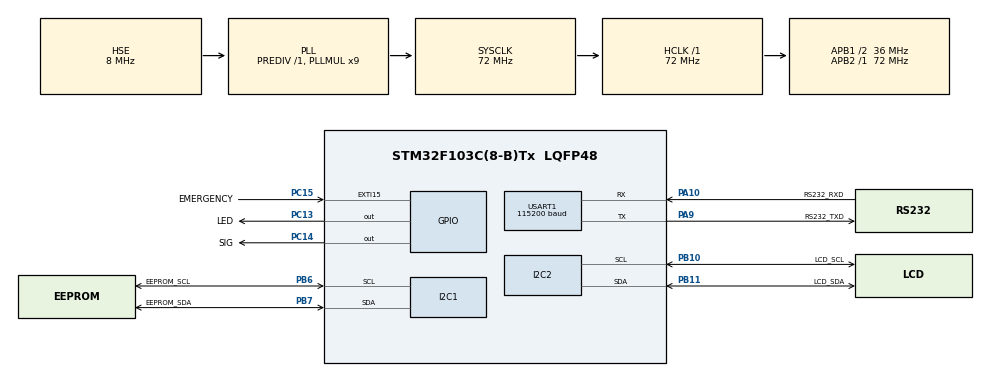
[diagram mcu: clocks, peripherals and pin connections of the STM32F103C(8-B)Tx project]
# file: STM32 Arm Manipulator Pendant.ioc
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I2C1.I2C_Mode=I2C_Fast
Mcu.Family=STM32F1
Mcu.Name=STM32F103C(8-B)Tx
Mcu.Package=LQFP48
NVIC.EXTI15_10_IRQn=true\:10\:0\:true\:false\:true\:true\:true\:true
NVIC.PriorityGroup=NVIC_PRIORITYGROUP_4
NVIC.TIM2_IRQn=true\:7\:0\:true\:false\:true\:true\:true\:true
NVIC.TIM3_IRQn=true\:6\:0\:true\:false\:true\:true\:true\:true
NVIC.USART1_IRQn=true\:5\:0\:true\:false\:true\:true\:true\:true
PA10.GPIO_Label=RS232_RXD
PA10.GPIO_PuPd=GPIO_PULLDOWN
PA10.Mode=Asynchronous
PA10.Signal=USART1_RX
PA13.Mode=Serial_Wire
PA13.Signal=SYS_JTMS-SWDIO
PA14.Mode=Serial_Wire
PA14.Signal=SYS_JTCK-SWCLK
PA9.GPIO_Label=RS232_TXD
PA9.Mode=Asynchronous
PA9.Signal=USART1_TX
PB10.GPIO_Label=LCD_SCL
PB10.Mode=I2C
PB10.Signal=I2C2_SCL
PB11.GPIO_Label=LCD_SDA
PB11.Mode=I2C
PB11.Signal=I2C2_SDA
PB6.GPIO_Label=EEPROM_SCL
PB6.Mode=I2C
PB6.Signal=I2C1_SCL
PB7.GPIO_Label=EEPROM_SDA
PB7.Mode=I2C
PB7.Signal=I2C1_SDA
PC13-TAMPER-RTC.GPIO_Label=LED
PC13-TAMPER-RTC.Signal=GPIO_Output
PC14-OSC32_IN.GPIO_Label=SIG
PC14-OSC32_IN.Signal=GPIO_Output
PC15-OSC32_OUT.GPIO_Label=EMERGENCY
PC15-OSC32_OUT.GPIO_ModeDefaultEXTI=GPIO_MODE_IT_RISING_FALLING
PC15-OSC32_OUT.GPIO_PuPd=GPIO_PULLUP
PC15-OSC32_OUT.Signal=GPXTI15
PD0-OSC_IN.Mode=HSE-External-Oscillator
PD0-OSC_IN.Signal=RCC_OSC_IN
PD1-OSC_OUT.Mode=HSE-External-Oscillator
PD1-OSC_OUT.Signal=RCC_OSC_OUT
ProjectManager.HeapSize=0x200
ProjectManager.StackSize=0x400
ProjectManager.TargetToolchain=MDK-ARM V5.32
RCC.AHBFreq_Value=72000000
RCC.APB1CLKDivider=RCC_HCLK_DIV2
RCC.APB1Freq_Value=36000000
RCC.APB1TimFreq_Value=72000000
RCC.APB2Freq_Value=72000000
RCC.APB2TimFreq_Value=72000000
RCC.EnbaleCSS=true
RCC.HCLKFreq_Value=72000000
RCC.PLLMUL=RCC_PLL_MUL9
RCC.PLLSourceVirtual=RCC_PLLSOURCE_HSE
RCC.SYSCLKFreq_VALUE=72000000
RCC.SYSCLKSource=RCC_SYSCLKSOURCE_PLLCLK
RCC.USBFreq_Value=72000000
TIM2.Period=49999
TIM2.Prescaler=287
TIM3.Period=49999
TIM3.Prescaler=143
USART1.BaudRate=115200
USART1.VirtualMode=VM_ASYNC
VP_TIM2_VS_ClockSourceINT.Mode=Internal
VP_TIM3_VS_ClockSourceINT.Mode=Internal
board=custom

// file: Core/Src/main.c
/* USER CODE BEGIN Header */
/**
  ******************************************************************************
  * @file           : main.c
  * @brief          : Main program body
  ******************************************************************************
  * @attention
  *
  * Copyright (c) 2024 STMicroelectronics.
  * All rights reserved.
  *
  * This software is licensed under terms that can be found in the LICENSE file
  * in the root directory of this software component.
  * If no LICENSE file comes with this software, it is provided AS-IS.
  *
  ******************************************************************************
  */
/* USER CODE END Header */
#include "main.h"

/* USER CODE BEGIN Includes */
#include "LCD_I2C.h"
#include "Keypad_Driver.h"
#include "RS232_Driver.h"
#include "EEPROM_lib.h"
/* USER CODE END Includes */

/* USER CODE BEGIN PTD */

//--- LCD MENU TYPEDEF ---//
////////////////////////////
typedef enum{
	EMERGENCY_MENU,
	BOOTING_MENU,
	AUTO_HOME_MENU,
	HOMING_MENU,
	HOME_MENU,
	PREP_MENU,
	MAPPING_MENU,
	PREVIEW_MENU,
	WELDING_MENU,
	PAUSE_MENU,
	STOP_MENU,
	HOLD_MENU,
	MAPPING_ERR_MENU,
	PREVIEW_ERR_MENU,
	MAPPING_SAVE_MENU,
	POINT_SET_MENU,
	POINT_UNSET_MENU,
	EEPROM_ERR_MENU,
	RS232_ERR_MENU,
	KEYPAD_ERR_MENU,
	ANGLE_LIMIT_MENU,
}LCD_Menu_t;

LCD_Menu_t select_menu;
////////////////////////////

//--- KEYPAD TYPEDEF ---//
//////////////////////////
Keypad_t keypad;
//////////////////////////

//--- EEPROM TYPEDEF ---//
//////////////////////////
EEPROM_t eeprom1;

typedef enum{
	UPDATE_ALL = 0x01,
	SELECTED_ONLY,
}Mem_Update_t;
//////////////////////////

//--- RS232 TYPEDEF ---//
/////////////////////////
Data_Get_t command;
/////////////////////////

/* USER CODE END PTD */

/* USER CODE BEGIN PD */

/*WELDING POINT SET*/
//-------------------
#define MAX_POINT 300
//-------------------

/*EEPROM ADDRESS SET*/
//-----------------------------------
#define EEPROM1_ADDRESS					0xA0
#define DATA_BYTE_SHIFT					0x02
#define DATA_PAGE_SHIFT					0x01
//-----------------------------------

/*FUNCTION CONFIG SET*/
//---------------------
#define USE_LCD
#define USE_EEPROM
#define USE_RS232
#define USE_KEYPAD
//---------------------

/*TESTING MODE SET*/
//----------------------
#define MAIN_PROGRAM
//#define KEYPAD_TEST
//#define RS232_TEST
//#define EEPROM_TEST
//#define EMERGENCY_TEST
//----------------------

/* USER CODE END PD */

I2C_HandleTypeDef hi2c1;
I2C_HandleTypeDef hi2c2;

TIM_HandleTypeDef htim2;
TIM_HandleTypeDef htim3;

UART_HandleTypeDef huart1;

/* USER CODE BEGIN PV */

/*PENDANT GLOBAL VARIABLE*/
//////////////////////////////
bool
saved_dist    		= true,
saved_speed   		= true,
saved_prev				= true,
state_booting 		= false,
state_home 				= false,
state_running 		= false,
stop 							= false,
prep_done 				= false,
mapped_start_array[MAX_POINT],
mapped_end_array[MAX_POINT];

uint8_t
lcd_error_value,
stored_welding_data[3],
running_speed,
max_speed = 150,
mapped_array[MAX_POINT],
mapped_points[MAX_POINT],
mapped_pattern[MAX_POINT],
mapped_speed[MAX_POINT];

uint16_t
mapping_point,
total_mapped_points,
preview_point, welding_point,
preview_pattern, welding_pattern,
preview_speed, welding_speed,
max_welding_point = MAX_POINT;

float
angle_value[6], move_angle_value[6],
pos_value[3], move_pos_value[3],
A1, A2, A3, A4, A5, A6,
moveX, moveY, moveZ,
distance_val,
max_axis_distance = 100,
max_joint_distance = 90;

char
string_distance[20],
string_preview[20],
string_speed[20];

char
prev_keys,
keys;
//////////////////////////////

/*MENU MODE VARIABLE*/
///////////////////////////////////
bool
home_state = true,
mapping_state = false,
preview_state = false,
welding_state = false,
emergency_state = false,
prev_emergency_state = false;

float
increase_decrease_value = 2.5;

char
home_menu[]					= "(HOME)",
preparation[]     	= "(PREP)",
mapping_menu[]    	= "(MAP)",
preview_menu[] 			= "(PREV)",
welding_menu[]			= "(WELD)",
mem_menu[]        	= "(MEM)",

cartesian_ctrl[]		= "(CAR)",
joint_ctrl[] 				= "(JNT)",

cont_change[] 			= "(CON)",
dist_change[] 			= "(DIS)",
step_change[] 			= "(STP)",

mapping_mode[]			= "(MAPPING)",
welding_mode[] 			= "(WELDING)",
preview_mode[] 			= "(PREVIEW)",

low_speed[] 				= "LOW",
med_speed[] 				= "MED",
high_speed[] 				= "HIGH",

not_set_mode[]			= "NOTSET",
dot_mode[]					= "DOT",
linear_mode[]				= "LINEAR",
circular_mode[] 		= "CIRCULAR",
wave_mode[]					= "WAVE",

string_max_dist1[] 	= "100      ",
string_max_dist2[] 	= "90       ",
string_max_point[] 	= "250      ",
string_max_speed[]	= "150      ";

int16_t
ctrl_mode_counter,			// Change Control Mode - World or Joint
move_mode_counter,			// Change Move Mode - Continuous, Distance, or Step
move_var_counter,				// Change Move Variable - World Variable or Joint Variable
run_mode_counter,				// Change Running Mode - Welding or Preview
speed_mode_counter,			// Change Speed Mode - LOW, MED, HIGH
mapping_menu_counter,
mapped_point_counter,
start_point_counter,
end_point_counter,
pattern_sel_counter,
mapped_array_counter,
welding_menu_counter,
add_col;

char num_keys[10] = {
'1', '2', '3', '4', '5',
'6', '7', '8', '9', '0',
};
///////////////////////////////////

uint8_t
erased_page_count,
eeprom_page_data[128];
/* USER CODE END PV */

void SystemClock_Config(void);
static void MX_GPIO_Init(void);
static void MX_I2C1_Init(void);
static void MX_I2C2_Init(void);
static void MX_USART1_UART_Init(void);
static void MX_TIM2_Init(void);
static void MX_TIM3_Init(void);
/* USER CODE BEGIN PFP */

// LED BLINK FUNCTION PROTOTYPE
void blink_led(uint8_t delay_time, uint8_t count);

// MENU HANDLER FUNCTION PROTOTYPE
void ui_handler(void);
void show_menu(LCD_Menu_t menu);
void reset_counter(void);
bool check_numkeys_pressed(void);

// EEPROM HANDLER FUNCTION PROTOTYPE
void Save_WeldingData(uint8_t welding_point, uint8_t welding_pattern, uint8_t welding_speed);		// SAVING WELDING DATA
void Delete_WeldingData(uint8_t welding_point);																									// DELETE WELDING DATA
void Read_WeldingData(uint16_t welding_point, uint8_t* stored_data);														// READ WELDING DATA
void Update_Data(Mem_Update_t update_type);																											// UPDATE WELDING DATA
void Format_mem(void);																																					// MEMORY FORMAT

/* USER CODE END PFP */

/* USER CODE BEGIN 0 */

/*LCD MENU TIMER UPDATE*/
//-----------------------------------------------------------
void HAL_TIM_PeriodElapsedCallback(TIM_HandleTypeDef *htim){
	if(htim->Instance == TIM2){
		show_menu((LCD_Menu_t)select_menu);
	}
}
//-----------------------------------------------------------

/*EMERGENCY STOP BUTTON INTERRUPT*/
//----------------------------------------------------------------------------------------------
void HAL_GPIO_EXTI_Callback(uint16_t GPIO_Pin){
	if(GPIO_Pin == EMERGENCY_Pin){
		emergency_state = (HAL_GPIO_ReadPin(EMERGENCY_GPIO_Port, EMERGENCY_Pin) == GPIO_PIN_RESET);
		if(emergency_state == true) HAL_GPIO_WritePin(SIG_GPIO_Port, SIG_Pin, GPIO_PIN_RESET);
		else HAL_GPIO_WritePin(SIG_GPIO_Port, SIG_Pin, GPIO_PIN_SET);
	}
}
//----------------------------------------------------------------------------------------------

/*KEYPAD CONFIGURATION*/
//-------------------------------
unsigned long
prev_tick,
debounce = 200;

const uint8_t
num_rows = 5,
num_cols = 4;

char key[num_rows][num_cols] = {
	{'Q', 'W', 'R', 'T'},
	{'1', '2', '3', 'U'},
	{'4', '5', '6', 'D'},
	{'7', '8', '9', '.'},
	{'<', '0', '>', '#'}
};
//-------------------------------

/*RS232 CONFIGURATION*/
//------------------------------------------------------
uint32_t RS232_state, RS232_err_status;
void HAL_UART_RxCpltCallback(UART_HandleTypeDef *huart){
	if(huart->Instance == USART1){
		Get_command(&command);
		Start_get_command(&command);
	}
}

void HAL_UART_TxCpltCallback(UART_HandleTypeDef *huart){
	command.msg_sent = true;
}
//------------------------------------------------------

/* USER CODE END 0 */

int main(void)
{

  /* MCU Configuration--------------------------------------------------------*/

  /* Reset of all peripherals, Initializes the Flash interface and the Systick. */
  HAL_Init();

  /* Configure the system clock */
  SystemClock_Config();

  /* Initialize all configured peripherals */
  MX_GPIO_Init();
  MX_I2C1_Init();
  MX_I2C2_Init();
  MX_USART1_UART_Init();
  MX_TIM2_Init();
  MX_TIM3_Init();
  /* USER CODE BEGIN 2 */
	HAL_Delay(1500);

	/*LCD CONFIGURATION*/
	//---------------------------------
	#ifdef USE_LCD
	lcd_error_value = lcd_init(&hi2c2);
	if(lcd_error_value != 0){
		while(1){
			blink_led(50, 1);
		}
	};
	select_menu = BOOTING_MENU;
	lcd_clear();
	HAL_TIM_Base_Start_IT(&htim2);
	blink_led(100, 2);
	#endif
	//---------------------------------

	/*CHECK EMERGENCY*/
	//-----------------------------------------------------------------------
	if(HAL_GPIO_ReadPin(EMERGENCY_GPIO_Port, EMERGENCY_Pin) == GPIO_PIN_SET){
		HAL_GPIO_WritePin(SIG_GPIO_Port, SIG_Pin, GPIO_PIN_SET);
	}
	else HAL_GPIO_WritePin(SIG_GPIO_Port, SIG_Pin, GPIO_PIN_RESET);
	//-----------------------------------------------------------------------

	/*RS232 COM CONFIGURATION*/
	//----------------------------------------
	#ifdef USE_RS232
	RS232_Init(&huart1);
	Start_get_command(&command);
	for(int i=0; i<50; i++){
		Send_feedback(&command, PENDANT_ONLINE);
		HAL_Delay(10);
	}
	blink_led(100, 2);
	#endif
	//----------------------------------------

	/*EEPROM CONFIGURATION*/
	//---------------------------------------------------------
	#ifdef USE_EEPROM
	EEPROM_Init(&hi2c1, &eeprom1, MEM_SIZE_256Kb, 0xA0);
	EEPROM_ByteRead(&eeprom1, 511, 0, eeprom1.dummy_byte, 1);
	if(eeprom1.status != EEPROM_OK){
		lcd_clear();
		while(1){
			select_menu = EEPROM_ERR_MENU;
			blink_led(50, 1);
		}
	}
	Update_Data(UPDATE_ALL);
	blink_led(100, 2);
	#endif
	//---------------------------------------------------------

	/*KEYPAD CONFIGURATION*/
	//---------------------------------------------------------
	#ifdef USE_KEYPAD
	keypad.col_port[0] = GPIOB, keypad.col_pin[0] = GPIO_PIN_1;
	keypad.col_port[1] = GPIOB, keypad.col_pin[1] = GPIO_PIN_0;
	keypad.col_port[2] = GPIOA, keypad.col_pin[2] = GPIO_PIN_7;
	keypad.col_port[3] = GPIOA, keypad.col_pin[3] = GPIO_PIN_6;

	keypad.row_port[0] = GPIOA, keypad.row_pin[0] = GPIO_PIN_1;
	keypad.row_port[1] = GPIOA, keypad.row_pin[1] = GPIO_PIN_2;
	keypad.row_port[2] = GPIOA, keypad.row_pin[2] = GPIO_PIN_3;
	keypad.row_port[3] = GPIOA, keypad.row_pin[3] = GPIO_PIN_4;
	keypad.row_port[4] = GPIOA, keypad.row_pin[4] = GPIO_PIN_5;

	Keypad_Init(&keypad, makeKeymap(key), num_rows, num_cols);
	blink_led(100, 2);

	HAL_TIM_Base_Start_IT(&htim3);
	#endif
	//---------------------------------------------------------

	/*ALL PREPARATION COMPLETED - BOOTING DONE*/
	//------------------------------------------
	lcd_clear();
	select_menu = HOME_MENU;
	HAL_Delay(100);
	prep_done = true;
	//------------------------------------------

	#ifdef EEPROM_TEST
	Save_WeldingData(0, LINEAR, 50);
	HAL_Delay(100);
	Read_WeldingData(0, stored_welding_data);
	#endif

  /* USER CODE END 2 */

  /* Infinite loop */
  /* USER CODE BEGIN WHILE */
  while (1)
  {
		#ifdef MAIN_PROGRAM
		ui_handler();
		#endif

		#ifdef KEYPAD_TEST
		keys = Keypad_Read(&keypad);
		if(keys != prev_keys && keys != 0x00) lcd_clear();

		prev_keys = keys;
		#endif

		#ifdef RS232_TEST
		Start_get_command(&command);
		#endif
    /* USER CODE END WHILE */

  }
}

void SystemClock_Config(void)
{
  RCC_OscInitTypeDef RCC_OscInitStruct = {0};
  RCC_ClkInitTypeDef RCC_ClkInitStruct = {0};

  /** Initializes the RCC Oscillators according to the specified parameters
  * in the RCC_OscInitTypeDef structure.
  */
  RCC_OscInitStruct.OscillatorType = RCC_OSCILLATORTYPE_HSE;
  RCC_OscInitStruct.HSEState = RCC_HSE_ON;
  RCC_OscInitStruct.HSEPredivValue = RCC_HSE_PREDIV_DIV1;
  RCC_OscInitStruct.HSIState = RCC_HSI_ON;
  RCC_OscInitStruct.PLL.PLLState = RCC_PLL_ON;
  RCC_OscInitStruct.PLL.PLLSource = RCC_PLLSOURCE_HSE;
  RCC_OscInitStruct.PLL.PLLMUL = RCC_PLL_MUL9;
  if (HAL_RCC_OscConfig(&RCC_OscInitStruct) != HAL_OK)
  {
    Error_Handler();
  }

  /** Initializes the CPU, AHB and APB buses clocks
  */
  RCC_ClkInitStruct.ClockType = RCC_CLOCKTYPE_HCLK|RCC_CLOCKTYPE_SYSCLK
                              |RCC_CLOCKTYPE_PCLK1|RCC_CLOCKTYPE_PCLK2;
  RCC_ClkInitStruct.SYSCLKSource = RCC_SYSCLKSOURCE_PLLCLK;
  RCC_ClkInitStruct.AHBCLKDivider = RCC_SYSCLK_DIV1;
  RCC_ClkInitStruct.APB1CLKDivider = RCC_HCLK_DIV2;
  RCC_ClkInitStruct.APB2CLKDivider = RCC_HCLK_DIV1;

  if (HAL_RCC_ClockConfig(&RCC_ClkInitStruct, FLASH_LATENCY_2) != HAL_OK)
  {
    Error_Handler();
  }

  /** Enables the Clock Security System
  */
  HAL_RCC_EnableCSS();
}

static void MX_I2C1_Init(void)
{

  hi2c1.Instance = I2C1;
  hi2c1.Init.ClockSpeed = 400000;
  hi2c1.Init.DutyCycle = I2C_DUTYCYCLE_2;
  hi2c1.Init.OwnAddress1 = 0;
  hi2c1.Init.AddressingMode = I2C_ADDRESSINGMODE_7BIT;
  hi2c1.Init.DualAddressMode = I2C_DUALADDRESS_DISABLE;
  hi2c1.Init.OwnAddress2 = 0;
  hi2c1.Init.GeneralCallMode = I2C_GENERALCALL_DISABLE;
  hi2c1.Init.NoStretchMode = I2C_NOSTRETCH_DISABLE;
  if (HAL_I2C_Init(&hi2c1) != HAL_OK)
  {
    Error_Handler();
  }

}

static void MX_I2C2_Init(void)
{

  hi2c2.Instance = I2C2;
  hi2c2.Init.ClockSpeed = 100000;
  hi2c2.Init.DutyCycle = I2C_DUTYCYCLE_2;
  hi2c2.Init.OwnAddress1 = 0;
  hi2c2.Init.AddressingMode = I2C_ADDRESSINGMODE_7BIT;
  hi2c2.Init.DualAddressMode = I2C_DUALADDRESS_DISABLE;
  hi2c2.Init.OwnAddress2 = 0;
  hi2c2.Init.GeneralCallMode = I2C_GENERALCALL_DISABLE;
  hi2c2.Init.NoStretchMode = I2C_NOSTRETCH_DISABLE;
  if (HAL_I2C_Init(&hi2c2) != HAL_OK)
  {
    Error_Handler();
  }

}

static void MX_TIM2_Init(void)
{

  TIM_ClockConfigTypeDef sClockSourceConfig = {0};
  TIM_MasterConfigTypeDef sMasterConfig = {0};

  htim2.Instance = TIM2;
  htim2.Init.Prescaler = 287;
  htim2.Init.CounterMode = TIM_COUNTERMODE_UP;
  htim2.Init.Period = 49999;
  htim2.Init.ClockDivision = TIM_CLOCKDIVISION_DIV1;
  htim2.Init.AutoReloadPreload = TIM_AUTORELOAD_PRELOAD_DISABLE;
  if (HAL_TIM_Base_Init(&htim2) != HAL_OK)
  {
    Error_Handler();
  }
  sClockSourceConfig.ClockSource = TIM_CLOCKSOURCE_INTERNAL;
  if (HAL_TIM_ConfigClockSource(&htim2, &sClockSourceConfig) != HAL_OK)
  {
    Error_Handler();
  }
  sMasterConfig.MasterOutputTrigger = TIM_TRGO_RESET;
  sMasterConfig.MasterSlaveMode = TIM_MASTERSLAVEMODE_DISABLE;
  if (HAL_TIMEx_MasterConfigSynchronization(&htim2, &sMasterConfig) != HAL_OK)
  {
    Error_Handler();
  }

}

static void MX_TIM3_Init(void)
{

  TIM_ClockConfigTypeDef sClockSourceConfig = {0};
  TIM_MasterConfigTypeDef sMasterConfig = {0};

  htim3.Instance = TIM3;
  htim3.Init.Prescaler = 143;
  htim3.Init.CounterMode = TIM_COUNTERMODE_UP;
  htim3.Init.Period = 49999;
  htim3.Init.ClockDivision = TIM_CLOCKDIVISION_DIV1;
  htim3.Init.AutoReloadPreload = TIM_AUTORELOAD_PRELOAD_DISABLE;
  if (HAL_TIM_Base_Init(&htim3) != HAL_OK)
  {
    Error_Handler();
  }
  sClockSourceConfig.ClockSource = TIM_CLOCKSOURCE_INTERNAL;
  if (HAL_TIM_ConfigClockSource(&htim3, &sClockSourceConfig) != HAL_OK)
  {
    Error_Handler();
  }
  sMasterConfig.MasterOutputTrigger = TIM_TRGO_RESET;
  sMasterConfig.MasterSlaveMode = TIM_MASTERSLAVEMODE_DISABLE;
  if (HAL_TIMEx_MasterConfigSynchronization(&htim3, &sMasterConfig) != HAL_OK)
  {
    Error_Handler();
  }

}

static void MX_USART1_UART_Init(void)
{

  huart1.Instance = USART1;
  huart1.Init.BaudRate = 115200;
  huart1.Init.WordLength = UART_WORDLENGTH_8B;
  huart1.Init.StopBits = UART_STOPBITS_1;
  huart1.Init.Parity = UART_PARITY_NONE;
  huart1.Init.Mode = UART_MODE_TX_RX;
  huart1.Init.HwFlowCtl = UART_HWCONTROL_NONE;
  huart1.Init.OverSampling = UART_OVERSAMPLING_16;
  if (HAL_UART_Init(&huart1) != HAL_OK)
  {
    Error_Handler();
  }

}

static void MX_GPIO_Init(void)
{
  GPIO_InitTypeDef GPIO_InitStruct = {0};

  /* GPIO Ports Clock Enable */
  __HAL_RCC_GPIOC_CLK_ENABLE();
  __HAL_RCC_GPIOD_CLK_ENABLE();
  __HAL_RCC_GPIOB_CLK_ENABLE();
  __HAL_RCC_GPIOA_CLK_ENABLE();

  /*Configure GPIO pin Output Level */
  HAL_GPIO_WritePin(GPIOC, LED_Pin|SIG_Pin, GPIO_PIN_RESET);

  /*Configure GPIO pins : LED_Pin SIG_Pin */
  GPIO_InitStruct.Pin = LED_Pin|SIG_Pin;
  GPIO_InitStruct.Mode = GPIO_MODE_OUTPUT_PP;
  GPIO_InitStruct.Pull = GPIO_NOPULL;
  GPIO_InitStruct.Speed = GPIO_SPEED_FREQ_LOW;
  HAL_GPIO_Init(GPIOC, &GPIO_InitStruct);

  /*Configure GPIO pin : EMERGENCY_Pin */
  GPIO_InitStruct.Pin = EMERGENCY_Pin;
  GPIO_InitStruct.Mode = GPIO_MODE_IT_RISING_FALLING;
  GPIO_InitStruct.Pull = GPIO_PULLUP;
  HAL_GPIO_Init(EMERGENCY_GPIO_Port, &GPIO_InitStruct);

  /* EXTI interrupt init*/
  HAL_NVIC_SetPriority(EXTI15_10_IRQn, 10, 0);
  HAL_NVIC_EnableIRQ(EXTI15_10_IRQn);

}

/* USER CODE BEGIN 4 */

/*--- LED BLINK HANDLER ---*/
//---------------------------------------------------------------------------------------------------------------------------------------------------------------------------------
void blink_led(uint8_t delay_time, uint8_t count){
	for(int i=0; i<count; i++){
		HAL_GPIO_WritePin(LED_GPIO_Port, LED_Pin, GPIO_PIN_SET);
		HAL_Delay(delay_time);
		HAL_GPIO_WritePin(LED_GPIO_Port, LED_Pin, GPIO_PIN_RESET);
		HAL_Delay(delay_time);
	}
}
//---------------------------------------------------------------------------------------------------------------------------------------------------------------------------------

/*--- USER INTERFACE HANDLER ---*/
//---------------------------------------------------------------------------------------------------------------------------------------------------------------------------------
void ui_handler(void){
	Start_get_command(&command);

	// Get Request
	if(command.type == SEND_REQ){
		for(int i=0; i<6; i++){
			if(i<3) pos_value[i] = command.Cartesian_pos_req[i];
			angle_value[i] = command.Joint_angle_req[i];
		}
	}

	// Read Keypad
	keys = Keypad_Read(&keypad);
	if(keys != prev_keys && keys != 0x00){
		lcd_clear();
	}

	/* EMERGENCY MENU HANDLER *////////////////////////////////////////////////
	if(select_menu == EMERGENCY_MENU){
		uint8_t btn_state = HAL_GPIO_ReadPin(EMERGENCY_GPIO_Port, EMERGENCY_Pin);
		HAL_GPIO_WritePin(SIG_GPIO_Port, SIG_Pin, GPIO_PIN_SET);

		if(emergency_state != prev_emergency_state){
			lcd_clear();
			prev_emergency_state = emergency_state;
		}

		if(btn_state == GPIO_PIN_SET){
			lcd_clear();
			HAL_GPIO_WritePin(SIG_GPIO_Port, SIG_Pin, GPIO_PIN_RESET);
			emergency_state = false;
			prev_emergency_state = false;
			select_menu = HOME_MENU;
		}
	}
	///////////////////////////////////////////////////////////////////////////

	/* AUTO HOME MENU HANDLER */////////////////////////////////////////////
	else if(select_menu == AUTO_HOME_MENU){
		keys = Keypad_Read(&keypad);
		if(keys == '#' && prev_keys != keys){
			HAL_Delay(100);
			lcd_clear();
			select_menu = HOMING_MENU;
		}
		else if(keys == '.' && prev_keys != keys){
			lcd_clear();
			select_menu = HOME_MENU;
		}
	}
	////////////////////////////////////////////////////////////////////////

	/* HOMING MENU HANDLER */////////////////////////////////////////
	else if(select_menu == HOMING_MENU){
		while(1){
			Send_auto_home(&command);
			if(command.feedback == AUTO_HOME_DONE){
				lcd_clear();
				select_menu = HOME_MENU;
				break;
			}
		}
	}
	////////////////////////////////////////////////////////////////

	/* HOME MENU HANDLER */////////////////////////////////////////////////////////////////
	else if(select_menu == HOME_MENU){
		home_state = true;

		// AUTO HOME ************************
		if(keys == 'Q' && prev_keys != keys){
			select_menu = AUTO_HOME_MENU;
		}
		// **********************************

		// CHANGE MOVE CONTROL ***************************
		else if(keys == 'W' && prev_keys != keys){
			move_var_counter = 0;
			ctrl_mode_counter++;
			if(ctrl_mode_counter > 1) ctrl_mode_counter = 0;
			strcpy(string_distance, "0");
			distance_val = 0;
		}
		// ***********************************************

		// CHANGE CURSOR **************************************************************
		else if(keys == 'R' && prev_keys != keys){
			move_var_counter++;
			if(ctrl_mode_counter == 0 && move_var_counter > 2) move_var_counter = 0;
			else if(ctrl_mode_counter == 1 && move_var_counter > 5) move_var_counter = 0;
		}
		// ****************************************************************************

		// SELECT MOVE VALUE ***********************************
		else if(keys == 'T' && prev_keys != keys){
			move_mode_counter++;
			if(move_mode_counter > 2) move_mode_counter = 0;
			strcpy(string_distance, "0");
			distance_val = 0;
		}
		// *****************************************************

		// MOVE VALUE BY DISTANCE *************************************************************
		else if((move_mode_counter == 1 && check_numkeys_pressed() == true) || keys == '<'){
			add_col = 0;
			distance_val = 0;

			while(1){
				saved_dist = false;
				if(keys != prev_keys && keys != 0x00) lcd_clear();

				// INSERT VALUE
				if(check_numkeys_pressed() == true && prev_keys != keys){
					string_distance[add_col] = keys;
					add_col++;
				}

				// DELETE VALUE
				if(keys == '<' && prev_keys != keys){
					if(add_col > 0) add_col-=1;

					if(add_col == 0) string_distance[add_col] = '0';
					else string_distance[add_col] = ' ';
				}

				// SAVE VALUE
				if(keys == '>' && prev_keys != keys){
					sscanf(string_distance, "%f", &distance_val);
					if(ctrl_mode_counter == 0){
						if(distance_val >= max_axis_distance){
							memcpy(string_distance, string_max_dist1, sizeof(string_max_dist1));
							distance_val = max_axis_distance;
						}
					}
					else{
						if(distance_val >= max_joint_distance){
							memcpy(string_distance, string_max_dist2, sizeof(string_max_dist2));
							distance_val = max_joint_distance;
						}
					}
					saved_dist = true;
					break;
				}
				prev_keys = keys;
			}
		}
		// ************************************************************************************

		// MOVE VALUE BY STEP *******************************************
		else if(move_mode_counter == 2) increase_decrease_value = 0.1;
		// **************************************************************

		// MOVE VALUE CONTINUOUS **********
		else increase_decrease_value = 0.0;
		// ********************************

		// INCLREASE VALUE *****************************************************************************************************************
		if(keys == 'U' && HAL_GetTick() - prev_tick > debounce){
			// Cartesian Increase Value Control
			if(ctrl_mode_counter == 0){
				for(int i=0; i<3; i++){
					if(move_var_counter == i){
						if(move_mode_counter != 1) move_pos_value[i] = increase_decrease_value;
						else move_pos_value[i] = distance_val;
						Send_move(&command, CARTESIAN_CTRL, (Move_Mode_t)(move_mode_counter+1), (Move_Var_t)(i+1), UNSIGNED_VAR, move_pos_value[i]);
					}
				}
			}

			// Joint Increase Value Control
			else{
				for(int i=0; i<6; i++){
					if(move_var_counter == i){
						if(move_mode_counter != 1) move_angle_value[i] = increase_decrease_value;
						else move_angle_value[i] = distance_val;
						Send_move(&command, JOINT_CTRL, (Move_Mode_t)(move_mode_counter+1), (Move_Var_t)(i+4), UNSIGNED_VAR, move_angle_value[i]);
					}
				}
			}
			prev_tick = HAL_GetTick();
		}
		// ********************************************************************************************************************************

		// DECREASE VALUE *****************************************************************************************************************
		else if(keys == 'D' && HAL_GetTick() - prev_tick > debounce){
			if(ctrl_mode_counter == 0){
				for(int i=0; i<3; i++){
					if(move_var_counter == i){
						if(move_mode_counter != 1) move_pos_value[i] = -1*(increase_decrease_value);
						else move_pos_value[i] = -1*(distance_val);
						Send_move(&command, CARTESIAN_CTRL, (Move_Mode_t)(move_mode_counter+1), (Move_Var_t)(i+1), SIGNED_VAR, move_pos_value[i]);
					}
				}
			}
			else{
				for(int i=0; i<6; i++){
					if(move_var_counter == i){
						if(move_mode_counter != 1) move_angle_value[i] = -1*(increase_decrease_value);
						else move_angle_value[i] = -1*(distance_val);
						Send_move(&command, JOINT_CTRL, (Move_Mode_t)(move_mode_counter+1), (Move_Var_t)(i+4), SIGNED_VAR, move_angle_value[i]);
					}
				}
			}
			prev_tick = HAL_GetTick();
		}
		// *********************************************************************************************************************************

		// MOVE TO PREPARATION MENU *********
		if(keys == '#' && prev_keys != keys){
			home_state = false;
			run_mode_counter = 0;
			mapped_point_counter = 0;
			select_menu = PREP_MENU;
			strcpy(string_preview, "-");
		}
		// **********************************
	}
	///////////////////////////////////////////////////////////////////////////////////////

	/* PREPARATION MENU HANDLER *////////////////////////////////////////////////////////////////
	else if(select_menu == PREP_MENU){
		mapping_state = false;
		preview_state = false;
		welding_state = false;

		// BACK TO HOME MENU *****************
		if(keys == '.' && prev_keys != keys){
			select_menu = HOME_MENU;
			reset_counter();
			strcpy(string_distance, "0");
			distance_val = 0;
		}
		// ***********************************

		// CHANGE RUNNING MODE *************************
		else if(keys == 'Q' && prev_keys != keys){
			run_mode_counter++;
			if(run_mode_counter > 2) run_mode_counter = 0;
			strcpy(string_preview, "-");
		}
		// *********************************************

		// MAPPING PREPARATION MENU ***************************************************************
		if(run_mode_counter == 0){
			// CHECK NEXT MAPPED POINT
			if(keys == 'U' && prev_keys != keys){
				mapped_point_counter++;
				if(mapped_point_counter >= max_welding_point) mapped_point_counter = max_welding_point;
			}

			// CHECK PREVIOUS MAPPED POINT
			else if(keys == 'D' && prev_keys != keys){
				mapped_point_counter--;
				if(mapped_point_counter <= 0) mapped_point_counter = 0;
			}

			// MAPPING RUN
			else if(keys == '#' && prev_keys != keys){
				mapping_state = true;
				select_menu = MAPPING_MENU;
				mapping_menu_counter = 0;
			}
		}
		// ****************************************************************************************

		// PREVIEW PREPARATION MENU **************************************************
		else if(run_mode_counter == 1){
			// CHECK FIRST NUMKEY INPUT
			if(check_numkeys_pressed() == true || keys == '<'){
				add_col = 0;
				*string_preview = '0';

				while(1){
					if(keys != prev_keys && keys != 0x00) lcd_clear();
					saved_prev = false;

					// INSERT VALUE
					if(check_numkeys_pressed() == true && prev_keys != keys && add_col < 3){
						string_preview[add_col] = keys;
						add_col++;
					}

					// SAVE VALUE
					else if((keys == '>') && prev_keys != keys){
						preview_point = atoi(string_preview);
						if(preview_point > max_welding_point){
							memcpy(string_preview, string_max_point, sizeof(string_max_point));
							preview_point = max_welding_point;
						}
						saved_prev = true;
						break;
					}

					// DELETE VALUE
					else if(keys == '<' && prev_keys != keys){
						if(add_col > 0) add_col-=1;

						if(add_col == 0) string_preview[add_col] = '0';
						else string_preview[add_col] = ' ';
					}
					prev_keys = keys;
				}
			}

			// PREVIEW RUN
			else if(keys == '#' && prev_keys != keys){
				preview_state = true;
				select_menu = PREVIEW_MENU;
				mapping_menu_counter = 0;
			}
		}
		// **************************************************************************

		// WELDING PREPARATION MENU **************
		else if(run_mode_counter == 2){
			// WELDING RUN
			if(keys == '#' && prev_keys != keys){
				welding_state = true;
				Send_running(&command, RUNNING_START);
				select_menu = WELDING_MENU;
				move_var_counter = 0;
				mapping_menu_counter = 0;
				ctrl_mode_counter = 0;
				preview_point = 0;
				preview_pattern = 0;
				preview_speed = 0;
			}
		}
		// ***************************************
	}
	/////////////////////////////////////////////////////////////////////////////////////////////

	/* MAPPING MENU UI HANDLER */////////////////////////////////////////////////////////////////////////////////
	else if(select_menu == MAPPING_MENU){
		// BACK TO PREPARATION MENU **************************************
		if(keys == '.' && prev_keys != keys && mapping_menu_counter == 0){
			run_mode_counter = 0;
			select_menu = PREP_MENU;
			reset_counter();
			strcpy(string_distance, "0");
			distance_val = 0;
		}
		// ***************************************************************

		// CHANGE MAPPING MENU *********************************
		else if(keys == 'Q' && prev_keys != keys){
			mapping_menu_counter++;
			if(mapping_menu_counter > 2) mapping_menu_counter = 0;
		}
		// *****************************************************

		// MAPPING MENU 1 **************************************************************************************************************************
		if(mapping_menu_counter == 0){
			// CHANGE MOVE CONTROL
			if(keys == 'W' && prev_keys != keys){
				move_var_counter = 0;
				ctrl_mode_counter++;
				if(ctrl_mode_counter > 1) ctrl_mode_counter = 0;
				strcpy(string_distance, "0");
				distance_val = 0;
			}

			// CHANGE CURSOR FOR SELECT MOVE VARIABLE
			else if(keys == 'R' && prev_keys != keys){
				move_var_counter++;
				if(ctrl_mode_counter == 0 && move_var_counter > 2) move_var_counter = 0;
				else if(ctrl_mode_counter == 1 && move_var_counter > 5) move_var_counter = 0;
			}

			// SELECT MOVE VALUE
			else if(keys == 'T' && prev_keys != keys){
				move_mode_counter++;
				if(move_mode_counter > 2) move_mode_counter = 0;
				strcpy(string_distance, "0");
				distance_val = 0;
			}

			// MOVE VALUE BY DISTANCE
			else if((move_mode_counter == 1 && check_numkeys_pressed() == true) || keys == '<'){
				add_col = 0;
				*string_distance = '0';

				while(1){
					saved_dist = false;
					if(keys != prev_keys && keys != 0x00) lcd_clear();

					// INSERT VALUE
					if(check_numkeys_pressed() == true && prev_keys != keys){
						string_distance[add_col] = keys;
						add_col++;
					}

					// SAVE VALUE
					else if(keys == '>' && prev_keys != keys){
						sscanf(string_distance, "%f", &distance_val);
						if(ctrl_mode_counter == 0){
							if(distance_val >= max_axis_distance){
								memcpy(string_distance, string_max_dist1, sizeof(string_max_dist1));
								distance_val = max_axis_distance;
							}
						}
						else{
							if(distance_val >= max_joint_distance){
								memcpy(string_distance, string_max_dist2, sizeof(string_max_dist2));
								distance_val = max_joint_distance;
							}
						}
						saved_dist = true;
						break;
					}

					// DELETE VALUE
					else if(keys == '<' && prev_keys != keys){
						if(add_col > 0) add_col-=1;

						if(add_col == 0) string_distance[add_col] = '0';
						else string_distance[add_col] = ' ';
					}

					prev_keys = keys;
				}
			}

			// MOVE VALUE BY STEP
			else if(move_mode_counter == 2) increase_decrease_value = 0.1;

			// MOVE VALUE CONTINUOUS
			else increase_decrease_value = 0.0;

			// INCLREASE VALUE
			if(keys == 'U' && HAL_GetTick() - prev_tick > debounce){
				if(ctrl_mode_counter == 0){
					for(int i=0; i<3; i++){
						if(move_var_counter == i){
							if(move_mode_counter != 1) move_pos_value[i] = increase_decrease_value;
							else move_pos_value[i] = distance_val;
							Send_move(&command, CARTESIAN_CTRL, (Move_Mode_t)(move_mode_counter+1), (Move_Var_t)(i+1), UNSIGNED_VAR, move_pos_value[i]);
						}
					}
				}

				else{
					for(int i=0; i<6; i++){
						if(move_var_counter == i){
							if(move_mode_counter != 1) move_angle_value[i] = increase_decrease_value;
							else move_angle_value[i] = distance_val;
							Send_move(&command, JOINT_CTRL, (Move_Mode_t)(move_mode_counter+1), (Move_Var_t)(i+4), UNSIGNED_VAR, move_angle_value[i]);
						}
					}
				}
				prev_tick = HAL_GetTick();
			}

			// DECREASE VALUE
			else if(keys == 'D' && HAL_GetTick() - prev_tick > debounce){
				if(ctrl_mode_counter == 0){
					for(int i=0; i<3; i++){
						if(move_var_counter == i){
							if(move_mode_counter != 1) move_pos_value[i] = -1*(increase_decrease_value);
							else move_pos_value[i] = -1*(distance_val);
							Send_move(&command, CARTESIAN_CTRL, (Move_Mode_t)(move_mode_counter+1), (Move_Var_t)(i+1), SIGNED_VAR, move_pos_value[i]);
						}
					}
				}
				else{
					for(int i=0; i<6; i++){
						if(move_var_counter == i){
							if(move_mode_counter != 1) move_angle_value[i] = -1*(increase_decrease_value);
							else move_angle_value[i] = -1*(distance_val);
							Send_move(&command, JOINT_CTRL, (Move_Mode_t)(move_mode_counter+1), (Move_Var_t)(i+4), SIGNED_VAR, move_angle_value[i]);
						}
					}
				}
				prev_tick = HAL_GetTick();
			}
		}
		// *****************************************************************************************************************************************

		// MAPPING MENU 2 ***************************************************************************
		else if(mapping_menu_counter == 1){
			// CHANGE CURSOR FOR SELECT WELDING POINT
			if(keys == 'R' && prev_keys != keys){
				move_var_counter++;
				if(move_var_counter > 1) move_var_counter = 0;
			}

			// BACK TO MAPPING MENU 1
			else if(keys == '.' && prev_keys != keys){
				mapping_menu_counter = 0;
			}

			// INCLREASE VALUE
			if(keys == 'U' && HAL_GetTick() - prev_tick > debounce){
				if(move_var_counter == 0){
					start_point_counter++;
					if(start_point_counter > max_welding_point) start_point_counter = 0;
				}

				else if(move_var_counter ==1){
					end_point_counter++;
					if(end_point_counter > max_welding_point) end_point_counter = 0;
				}
				prev_tick = HAL_GetTick();
			}

			// DECREASE VALUE
			else if(keys == 'D' && HAL_GetTick() - prev_tick > debounce){
				if(move_var_counter == 0){
					start_point_counter--;
					if(start_point_counter < 0) start_point_counter = max_welding_point;
				}

				else if(move_var_counter ==1){
					end_point_counter--;
					if(end_point_counter < 0) end_point_counter = max_welding_point;
				}
				prev_tick = HAL_GetTick();
			}

			// SET MAPPING POINT
			else if(keys == '>' && prev_keys != keys && mapping_menu_counter != 0){
				if(move_var_counter == 0 && start_point_counter != 0){
					mapped_start_array[start_point_counter] = true;
					for(int i=0; i<50; i++){
						Send_mapping(&command, start_point_counter, START_POINT, NOT_SET, LOW, SAVE_VALUE);
						HAL_Delay(5);
					}
				}
				else if(move_var_counter == 1 && end_point_counter != 0){
					mapped_end_array[end_point_counter] = true;
					for(int i=0; i<50; i++){
						Send_mapping(&command, end_point_counter, END_POINT, NOT_SET, LOW, SAVE_VALUE);
						HAL_Delay(5);
					}
				}

				lcd_clear();
				select_menu = POINT_SET_MENU;
				HAL_Delay(1500);
				lcd_clear();
				select_menu = MAPPING_MENU;
			}

			// UNSET MAPPING POINT
			else if(keys == '<' && prev_keys != keys && mapping_menu_counter != 0){
				if(move_var_counter == 0){
					mapped_start_array[start_point_counter] = false;
					for(int i=0; i<50; i++){
						Delete_WeldingData(start_point_counter);
						Send_mapping(&command, start_point_counter, START_POINT, NOT_SET, LOW, DELETE_VALUE);
						HAL_Delay(5);
					}
				}
				else if(move_var_counter == 1){
					mapped_end_array[end_point_counter] = false;
					for(int i=0; i<50; i++){
						Delete_WeldingData(end_point_counter);
						Send_mapping(&command, end_point_counter, END_POINT, NOT_SET, LOW, DELETE_VALUE);
						HAL_Delay(5);
					}
				}

				lcd_clear();
				select_menu = POINT_UNSET_MENU;
				Update_Data(UPDATE_ALL);
				HAL_Delay(1500);
				lcd_clear();
				select_menu = MAPPING_MENU;
			}
		}
		// *******************************************************************************************

		// MAPPING MENU 3 ********************************************************************************************************************
		else if(mapping_menu_counter == 2){
			// CHANGE PATTERN
			if(keys == 'W' && prev_keys != keys){
				pattern_sel_counter++;
				if(pattern_sel_counter > 2) pattern_sel_counter = 0;
			}

			// CHANGE MAPPED POINT MOVE SPEED
			else if(keys == 'R' && prev_keys != keys){
				speed_mode_counter++;
				if(speed_mode_counter > 3) speed_mode_counter = 0;
			}

			// BACK TO MAPPING MENU 1
			else if(keys == '.' && prev_keys != keys){
				mapping_menu_counter = 0;
			}

			// SAVE ALL MAPPING POINT DATA PATTERN
			else if(keys == '#' && prev_keys != keys){
				if((mapped_start_array[start_point_counter] & mapped_end_array[end_point_counter]) == true){
					total_mapped_points = 0;

					for(int i=0; i<50; i++){
						if(command.msg_sent == true){
							Send_mapping(&command, start_point_counter&end_point_counter, PATTERN, (Welding_Pattern_t) pattern_sel_counter, (Speed_t)speed_mode_counter, SAVE_VALUE);
							command.msg_sent = false;
						}
					}
					Save_WeldingData(start_point_counter, pattern_sel_counter, speed_mode_counter);
					HAL_Delay(50);

					select_menu = MAPPING_SAVE_MENU;
					Update_Data(UPDATE_ALL);
					lcd_clear();
					select_menu = MAPPING_MENU;
					mapping_menu_counter = 0;
				}

				else{
					select_menu = MAPPING_ERR_MENU;
					HAL_Delay(3000);
					lcd_clear();
					select_menu = MAPPING_MENU;
					mapping_menu_counter = 1;
				}
			}
		}
		// ***********************************************************************************************************************************
	}
	/////////////////////////////////////////////////////////////////////////////////////////////////////////////

	/* PREVIEW MENU HANDLER */////////////////////////////////////////////////////////////////////////////////////////////////
	else if(select_menu == PREVIEW_MENU){
		preview_pattern = mapped_pattern[preview_point-1];
		preview_speed = mapped_speed[preview_point-1];

		if((preview_point & mapped_points[preview_point-1]) == preview_point && preview_point != 0 && preview_speed != 0){
			while(1){
				keys = Keypad_Read(&keypad);

				if(keys != prev_keys && keys != 0x00) lcd_clear();

				if(command.feedback == CURRENT_POINT_DONE){
					move_mode_counter = 0;
					ctrl_mode_counter = 0;
					move_var_counter = 0;
					select_menu = HOME_MENU;
					break;
				}

				if(keys == '.' && prev_keys != keys){
					select_menu = STOP_MENU;
				}

				prev_keys = keys;
			}
		}

		else if((preview_point & mapped_points[preview_point-1]) != preview_point || preview_point == 0 || preview_speed == 0){
			lcd_clear();
			select_menu = PREVIEW_ERR_MENU;
			HAL_Delay(2000);
			lcd_clear();
			select_menu = PREP_MENU;
			run_mode_counter = 1;
		}
	}
	/////////////////////////////////////////////////////////////////////////////////////////////////////////////////////////

	/* WELDING MENU HANDLER *//////////////////////////////////
	else if(select_menu == WELDING_MENU){
		preview_point = command.welding_point_num;
		preview_pattern = command.pattern_type;
		preview_speed = command.running_speed;

		// PAUSE MENU ***********************
		if(keys == 'Q' && prev_keys != keys){
			select_menu = PAUSE_MENU;
		}
		// **********************************

		// CHANGE WELDING MENU *********************************
		else if(keys == 'W' && prev_keys != keys){
			ctrl_mode_counter++;
			if(ctrl_mode_counter > 1) ctrl_mode_counter = 0;
		}
		// *****************************************************

		// CHANGE WELDING MENU *********************************
		else if(keys == 'R' && prev_keys != keys){
			welding_menu_counter++;
			if(welding_menu_counter > 1) welding_menu_counter = 0;
		}
		// *****************************************************

		// STOP MENU *****************************
		else if(keys == '.' && prev_keys != keys){
			Send_running(&command, RUNNING_STOP);
			select_menu = STOP_MENU;
		}
		// ***************************************
	}
	//////////////////////////////////////////////////////////

	/* PAUSE MENU HANDLER *///////////////////////////////
	else if(select_menu == PAUSE_MENU){
		// CONTINUE MENU ***********************************
		while(1){
			keys = Keypad_Read(&keypad);
			if(keys != prev_keys && keys != 0x00) lcd_clear();

			Send_running(&command, RUNNING_PAUSE);
			if(keys == '#' && prev_keys != keys){
				Send_running(&command, RUNNING_START);
				select_menu = WELDING_MENU;
			}

			prev_keys = keys;
		}
		// *************************************************
	}
	//////////////////////////////////////////////////////

	/* STOP MENU HANDLER */////////////////////
	else if(select_menu == STOP_MENU){
		// WAIT FOR AUTO HOMING DONE ************
		while(1){
			Send_running(&command, RUNNING_STOP);
			if(command.feedback == AUTO_HOME_DONE){
				ctrl_mode_counter = 0,
				move_mode_counter = 0,
				move_var_counter = 0,
				run_mode_counter = 0,
				select_menu = HOME_MENU;
				break;
			}
		}
		// **************************************
	}
	////////////////////////////////////////////

	prev_keys = keys;
}
//---------------------------------------------------------------------------------------------------------------------------------------------------------------------------------

/*--- LCD MENU ---*/
//---------------------------------------------------------------------------------------------------------------------------------------------------------------------------------
void show_menu(LCD_Menu_t menu){
	/* EMERGENCY MENU */
	if(menu == EMERGENCY_MENU){
		lcd_set_cursor(5, 1);
		lcd_printstr("EMERGENCY!");
		lcd_set_cursor(4, 2);
		lcd_printstr("ROBOT STOPED");
	}

	/* BOOTING MENU *////////////////
	else if(menu == BOOTING_MENU){
		lcd_set_cursor(3, 1);
		lcd_printstr("SYSTEM BOOTING");
		lcd_set_cursor(4, 2);
		lcd_printstr("PLEASE  WAIT");
	}
	/////////////////////////////////

	/* AUTO HOME MENU *//////////////////
	else if(menu == AUTO_HOME_MENU){
		lcd_set_cursor(3, 1);
		lcd_printstr("PRESS  ENTER");
		lcd_set_cursor(1, 2);
		lcd_printstr("TO START AUTO HOME");
	}
	/////////////////////////////////////

	/* HOMING MENU */////////////////
	else if(menu == HOMING_MENU){
		lcd_set_cursor(0, 0);
			lcd_printstr("XP:HOMING");
			lcd_set_cursor(0, 1);
			lcd_printstr("YP:HOMING");
			lcd_set_cursor(0, 2);
			lcd_printstr("ZP:HOMING");

			lcd_set_cursor(7, 3);
			lcd_printstr(home_menu);

			lcd_set_cursor(15, 3);
			lcd_printstr(cartesian_ctrl);
	}
	/////////////////////////////////

	/* HOME MENU *//////////////////////////////////////////////////
	else if(menu == HOME_MENU){
		// SHOW POS CTRL *********************
		if(ctrl_mode_counter == 0){
			lcd_set_cursor(9, move_var_counter);
			lcd_printstr("<");

			lcd_set_cursor(0, 0);
			lcd_printstr("XP:");
			lcd_printfloat(pos_value[0], 1);
			lcd_set_cursor(0, 1);
			lcd_printstr("YP:");
			lcd_printfloat(pos_value[1], 1);
			lcd_set_cursor(0, 2);
			lcd_printstr("ZP:");
			lcd_printfloat(pos_value[2], 1);

			lcd_set_cursor(15, 3);
			lcd_printstr(cartesian_ctrl);
		}
		// ***********************************

		// SHOW ANGLE CTRL **************************
		else if(ctrl_mode_counter == 1){
			if(move_var_counter < 3){
				lcd_set_cursor(9, move_var_counter);
				lcd_printstr("<");
			}

			else if(move_var_counter > 2){
				lcd_set_cursor(19, move_var_counter-3);
				lcd_printstr("<");
			}

			lcd_set_cursor(0, 0);
			lcd_printstr("A1:");
			lcd_printfloat(angle_value[0], 1);
			lcd_set_cursor(0, 1);
			lcd_printstr("A2:");
			lcd_printfloat(angle_value[1], 1);
			lcd_set_cursor(0, 2);
			lcd_printstr("A3:");
			lcd_printfloat(angle_value[2], 1);

			lcd_set_cursor(10, 0);
			lcd_printstr("A4:");
			lcd_printfloat(angle_value[3], 1);
			lcd_set_cursor(10, 1);
			lcd_printstr("A5:");
			lcd_printfloat(angle_value[4], 1);
			lcd_set_cursor(10, 2);
			lcd_printstr("A6:");
			lcd_printfloat(angle_value[5], 1);

			lcd_set_cursor(15, 3);
			lcd_printstr(joint_ctrl);
		}
		// ******************************************

		// CONTINUES MOVE **************************************
		lcd_set_cursor(0, 3);
		if(move_mode_counter == 0) lcd_printstr(cont_change);
		// *****************************************************

		// DISTANCE MOVE ***********************
		else if(move_mode_counter == 1){
			lcd_printstr(dist_change);
			lcd_set_cursor(6, 3);
			lcd_printstr(string_distance);

			if(!saved_dist && add_col != 0){
				lcd_set_cursor(6+add_col, 3);
				lcd_printstr("* ");
			}
			else if(!saved_dist && add_col == 0){
				lcd_set_cursor(7, 3);
				lcd_printstr("* ");
			}
		}
		// *************************************

		// STEP MOVE ************************************************
		else if(move_mode_counter == 2) lcd_printstr(step_change);
		// **********************************************************

		// SHOW CURRENT MENU *********
		if(move_mode_counter != 1){
			lcd_set_cursor(7, 3);
			lcd_printstr(home_menu);
		}
		// ***************************
	}
	///////////////////////////////////////////////////////////////

	/* PREPARATION MENU *///////////////////////////////////////
	else if(menu == PREP_MENU){
		// MAPPING PREP ******************************************
		if(run_mode_counter == 0){
			lcd_set_cursor(0, 0);
			lcd_printstr("Mapped Points");
			lcd_set_cursor(17, 0);
			if(mapped_points[mapped_point_counter] == 0){
				lcd_printstr("-");
				}
			else lcd_printint(mapped_points[mapped_point_counter]);

			lcd_set_cursor(0, 3);
			lcd_printstr(mapping_mode);
		}
		// *******************************************************

		// PREVIEW PREP ********************
		if(run_mode_counter == 1){
			lcd_set_cursor(0, 0);
			lcd_printstr("Select Point");
			if(!saved_prev) lcd_printstr("*");
			else lcd_printstr(" ");

			lcd_set_cursor(17, 0);
			lcd_printstr(string_preview);

			lcd_set_cursor(0, 3);
			lcd_printstr(preview_mode);
		}
		// *********************************

		// WELDING PREP ********************
		if(run_mode_counter == 2){
			lcd_set_cursor(0, 0);
			lcd_printstr("Total Mapped");
			lcd_set_cursor(17, 0);
			lcd_printint(total_mapped_points);

			lcd_set_cursor(0, 3);
			lcd_printstr(welding_mode);
		}
		// *********************************

		// SHOW CURRENT MENU ******
		lcd_set_cursor(14, 3);
		lcd_printstr(preparation);
		// ************************
	}
	////////////////////////////////////////////////////////////

	/* MAPPING MENU 1 *////////////////////////////////////////////
	else if(menu == MAPPING_MENU && mapping_menu_counter == 0){
		// SHOW CARTESIAN COORDINATE **********
		if(ctrl_mode_counter == 0){
			lcd_set_cursor(9, move_var_counter);
			lcd_printstr("<");

			lcd_set_cursor(0, 0);
			lcd_printstr("XP:");
			lcd_printfloat(pos_value[0], 1);
			lcd_set_cursor(0, 1);
			lcd_printstr("YP:");
			lcd_printfloat(pos_value[1], 1);
			lcd_set_cursor(0, 2);
			lcd_printstr("ZP:");
			lcd_printfloat(pos_value[2], 1);

			lcd_set_cursor(15, 3);
			lcd_printstr(cartesian_ctrl);
		}
		// ************************************

		// SHOW JOINT ANGLE ***********************
		else if(ctrl_mode_counter == 1){
			if(move_var_counter < 3){
				lcd_set_cursor(9, move_var_counter);
				lcd_printstr("<");
			}

			else if(move_var_counter > 2){
				lcd_set_cursor(19, move_var_counter-3);
				lcd_printstr("<");
			}

			lcd_set_cursor(0, 0);
			lcd_printstr("A1:");
			lcd_printfloat(angle_value[0], 1);
			lcd_set_cursor(0, 1);
			lcd_printstr("A2:");
			lcd_printfloat(angle_value[1], 1);
			lcd_set_cursor(0, 2);
			lcd_printstr("A3:");
			lcd_printfloat(angle_value[2], 1);

			lcd_set_cursor(10, 0);
			lcd_printstr("A4:");
			lcd_printfloat(angle_value[3], 1);
			lcd_set_cursor(10, 1);
			lcd_printstr("A5:");
			lcd_printfloat(angle_value[4], 1);
			lcd_set_cursor(10, 2);
			lcd_printstr("A6:");
			lcd_printfloat(angle_value[5], 1);

			lcd_set_cursor(15, 3);
			lcd_printstr(joint_ctrl);
		}
		// ****************************************

		// CONTINUES MOVE **************************************
		lcd_set_cursor(0, 3);
		if(move_mode_counter == 0) lcd_printstr(cont_change);

		else if(move_mode_counter == 1){
			lcd_printstr(dist_change);
			lcd_set_cursor(6, 3);
			lcd_printstr(string_distance);

			if(!saved_dist && add_col != 0){
				lcd_set_cursor(6+add_col, 3);
				lcd_printstr("* ");
			}
			else if(!saved_dist && add_col == 0){
				lcd_set_cursor(7, 3);
				lcd_printstr("* ");
			}
		}
		// *****************************************************

		// DISTANCE MOVE ***********************
		else if(move_mode_counter == 1){
			lcd_printstr(dist_change);
			lcd_set_cursor(6, 3);
			lcd_printstr(string_distance);

			if(!saved_dist && add_col != 0){
				lcd_set_cursor(6+add_col, 3);
				lcd_printstr("* ");
			}
			else if(!saved_dist && add_col == 0){
				lcd_set_cursor(7, 3);
				lcd_printstr("* ");
			}
		}
		// *************************************

		// STEP MOVE ************************************************
		else if(move_mode_counter == 2) lcd_printstr(step_change);
		// **********************************************************

		// SHOW CURRENT MENU *********
		if(move_mode_counter != 1){
			lcd_set_cursor(7, 3);
			lcd_printstr(mapping_menu);
		}
		// ***************************
	}
	///////////////////////////////////////////////////////////////

	/* MAPPING MENU 2 *//////////////////////////////////////////////
	else if(menu == MAPPING_MENU && mapping_menu_counter == 1){
		// SHOW CURRENT WELDING INFO **********************************
		lcd_set_cursor(19, move_var_counter);
		lcd_printstr("<");

		lcd_set_cursor(0, 0);
		lcd_printstr("Strt Point:");
		if(start_point_counter != 0) lcd_printint(start_point_counter);
		else lcd_printstr("-");

		lcd_set_cursor(0, 1);
		lcd_printstr("End Point :");
		if(end_point_counter != 0)  lcd_printint(end_point_counter);
		else lcd_printstr("-");

		lcd_set_cursor(0, 3);
		lcd_printstr(mapping_menu);

		lcd_set_cursor(15 , 3);
		lcd_printstr(mem_menu);
		// ************************************************************
	}
	/////////////////////////////////////////////////////////////////

	/* MAPPING MENU 3 *//////////////////////////////////////////////
	else if(menu == MAPPING_MENU && mapping_menu_counter == 2){
		// SHOW CURRENT WELDING INFO **********************************
		lcd_set_cursor(0, 0);
		lcd_printstr("Pattern");

		if(pattern_sel_counter == 0){
			lcd_set_cursor(14, 0);
			lcd_printstr(not_set_mode);
		}
		else if(pattern_sel_counter == 1){
			lcd_set_cursor(17, 0);
			lcd_printstr(dot_mode);
		}
		else if(pattern_sel_counter == 2){
			lcd_set_cursor(14, 0);
			lcd_printstr(linear_mode);
		}
		else if(pattern_sel_counter == 3){
			lcd_set_cursor(12, 0);
			lcd_printstr(circular_mode);
		}
		else if(pattern_sel_counter == 4){
			lcd_set_cursor(16, 0);
			lcd_printstr(wave_mode);
		}

		lcd_set_cursor(0, 1);
		lcd_printstr("Move Spd");

		if(speed_mode_counter == 0){
			lcd_set_cursor(14, 1);
			lcd_printstr(not_set_mode);
		}
		else if(speed_mode_counter == LOW){
			lcd_set_cursor(17, 1);
			lcd_printstr(low_speed);
		}
		else if(speed_mode_counter == MED){
			lcd_set_cursor(17, 1);
			lcd_printstr(med_speed);
		}
		else if(speed_mode_counter == HIGH){
			lcd_set_cursor(16, 1);
			lcd_printstr(high_speed);
		}

		lcd_set_cursor(0, 3);
		lcd_printstr(mapping_menu);

		lcd_set_cursor(15 , 3);
		lcd_printstr(mem_menu);
		// ************************************************************
	}
	/////////////////////////////////////////////////////////////////

	/* PREVIEW MENU *///////////////////////////////////
	else if(menu == PREVIEW_MENU){
		lcd_set_cursor(0, 0);
		lcd_printstr("Point Pos");
		lcd_set_cursor(17, 0);
		lcd_printint(preview_point);

		lcd_set_cursor(0, 1);
		lcd_printstr("Welding Speed");
		lcd_set_cursor(17, 1);
		if(preview_speed == LOW) lcd_printstr(low_speed);
		else if(preview_speed == MED) lcd_printstr(low_speed);
		else if(preview_speed == HIGH) lcd_printstr(high_speed);

		lcd_set_cursor(0, 3);
		lcd_printstr(preview_menu);

		if(preview_pattern == 0){
			lcd_set_cursor(12, 2);
			lcd_printstr("(");
			lcd_printstr(not_set_mode);
			lcd_printstr(")");
		}

		else if(preview_pattern == 1){
			lcd_set_cursor(15, 3);
			lcd_printstr("(");
			lcd_printstr(dot_mode);
			lcd_printstr(")");
		}
		else if(preview_pattern == 2){
			lcd_set_cursor(12, 3);
			lcd_printstr("(");
			lcd_printstr(linear_mode);
			lcd_printstr(")");
		}
		else if(preview_pattern == 3){
			lcd_set_cursor(10, 3);
			lcd_printstr("(");
			lcd_printstr(circular_mode);
			lcd_printstr(")");
		}
		else if(preview_pattern == 4){
			lcd_set_cursor(14, 3);
			lcd_printstr("(");
			lcd_printstr(wave_mode);
			lcd_printstr(")");
		}
	}
	///////////////////////////////////////////////////

	/* WELDING MENU 1*/////////////////////////////////////////
	else if(menu == WELDING_MENU && welding_menu_counter == 0){
		// SHOW CARTESIAN COORDINATE *********
		if(ctrl_mode_counter == 0){
			lcd_set_cursor(9, move_var_counter);
			lcd_printstr("<");

			lcd_set_cursor(0, 0);
			lcd_printstr("XP:");
			lcd_printfloat(pos_value[0], 1);
			lcd_set_cursor(0, 1);
			lcd_printstr("YP:");
			lcd_printfloat(pos_value[1], 1);
			lcd_set_cursor(0, 2);
			lcd_printstr("ZP:");
			lcd_printfloat(pos_value[2], 1);

			lcd_set_cursor(15, 3);
			lcd_printstr(cartesian_ctrl);
		}
		// ***********************************

		// SHOW JOINT ANGLE ***********************
		else if(ctrl_mode_counter == 1){
			if(move_var_counter < 3){
				lcd_set_cursor(9, move_var_counter);
				lcd_printstr("<");
			}

			else if(move_var_counter > 2){
				lcd_set_cursor(19, move_var_counter-3);
				lcd_printstr("<");
			}

			lcd_set_cursor(0, 0);
			lcd_printstr("A1:");
			lcd_printfloat(angle_value[0], 1);
			lcd_set_cursor(0, 1);
			lcd_printstr("A2:");
			lcd_printfloat(angle_value[1], 1);
			lcd_set_cursor(0, 2);
			lcd_printstr("A3:");
			lcd_printfloat(angle_value[2], 1);

			lcd_set_cursor(10, 0);
			lcd_printstr("A4:");
			lcd_printfloat(angle_value[3], 1);
			lcd_set_cursor(10, 1);
			lcd_printstr("A5:");
			lcd_printfloat(angle_value[4], 1);
			lcd_set_cursor(10, 2);
			lcd_printstr("A6:");
			lcd_printfloat(angle_value[5], 1);

			lcd_set_cursor(15, 3);
			lcd_printstr(joint_ctrl);
		}
		// ****************************************

		// SHOW CURRENT MENU *********
		lcd_set_cursor(0, 3);
		lcd_printstr(welding_menu);
		// ***************************

		// SHOW CURRENT PATTERN ******
		if(preview_pattern == 0){
			lcd_set_cursor(12, 2);
			lcd_printstr("(");
			lcd_printstr(not_set_mode);
			lcd_printstr(")");
		}
		else if(preview_pattern == 1){
			lcd_set_cursor(15, 2);
			lcd_printstr("(");
			lcd_printstr(dot_mode);
			lcd_printstr(")");
		}
		else if(preview_pattern == 2){
			lcd_set_cursor(12, 2);
			lcd_printstr("(");
			lcd_printstr(linear_mode);
			lcd_printstr(")");
		}
		else if(preview_pattern == 3){
			lcd_set_cursor(10, 2);
			lcd_printstr("(");
			lcd_printstr(circular_mode);
			lcd_printstr(")");
		}
		else if(preview_pattern == 4){
			lcd_set_cursor(14, 2);
			lcd_printstr("(");
			lcd_printstr(wave_mode);
			lcd_printstr(")");
		}
		// ***************************
	}
	///////////////////////////////////////////////////////////

	/* WELDING MENU 2*/////////////////////////////////////////
	else if(menu == WELDING_MENU && welding_menu_counter == 1){
		lcd_set_cursor(0, 0);
		lcd_printstr("Current Point");
		lcd_set_cursor(17, 0);
		lcd_printint(preview_point);

		lcd_set_cursor(0, 1);
		lcd_printstr("Current Speed");
		if(speed_mode_counter == 0){
			lcd_set_cursor(17, 1);
			lcd_printstr(low_speed);
		}
		else if(speed_mode_counter == 1){
			lcd_set_cursor(17, 1);
			lcd_printstr(med_speed);
		}
		else if(speed_mode_counter == 2){
			lcd_set_cursor(16, 1);
			lcd_printstr(high_speed);
		}

		lcd_set_cursor(0, 2);
		lcd_printstr("Welding Speed");
		lcd_set_cursor(17, 0);
		lcd_printint(preview_speed);
	}
	///////////////////////////////////////////////////////////

	/* MAPPING SAVE MENU */////////////
	else if(menu == MAPPING_SAVE_MENU){
		lcd_set_cursor(2, 1);
		lcd_printstr("SAVING PARAMETER");
		lcd_set_cursor(4, 2);
		lcd_printstr("PLEASE  WAIT");
	}
	///////////////////////////////////

	/* MAPPING ERROR MENU *////////////////
	else if(menu == MAPPING_ERR_MENU){
		lcd_set_cursor(3, 0);
		lcd_printstr("WELDING  POINT");
		lcd_set_cursor(2, 1);
		lcd_printstr("NO SET CORRECTLY");
		lcd_set_cursor(3, 3);
		lcd_printstr("PLEASE REPEAT");
	}
	///////////////////////////////////////

	/* PREVIEW ERROR MENU *//////////////
	else if(menu == PREVIEW_ERR_MENU){
		lcd_set_cursor(3, 1);
		lcd_printstr("SELECTED POINT");
		lcd_set_cursor(5, 2);
		lcd_printstr("NOT  FOUND");
	}
	/////////////////////////////////////

	/* POINT SET MENU*///////////////
	else if(menu == POINT_SET_MENU){
		lcd_set_cursor(4, 1);
		lcd_printstr("WELDING POINT");
		lcd_set_cursor(7, 2);
		lcd_printstr("SETTED");
	}
	/////////////////////////////////

	/* POINT UNSET MENU *//////////////
	else if(menu == POINT_UNSET_MENU){
		lcd_set_cursor(4, 1);
		lcd_printstr("WELDING POINT");
		lcd_set_cursor(6, 2);
		lcd_printstr("UNSETTED");
	}
	///////////////////////////////////

	/* PAUSE MENU *////////////////////
	else if(menu == PAUSE_MENU){
		lcd_set_cursor(2, 1);
		lcd_printstr("WELDING  PROCESS");
		lcd_set_cursor(6, 2);
		lcd_printstr("PAUSED");
	}
	///////////////////////////////////

	/* STOP MENU */////////////////////
	else if(menu == STOP_MENU){
		if(run_mode_counter == 1){
			lcd_set_cursor(2, 0);
			lcd_printstr("PREVIEW  PROCESS");
			lcd_set_cursor(6, 1);
			lcd_printstr("STOPED");
			lcd_set_cursor(4, 3);
			lcd_printstr("ROBOT HOMING");
		}

		else if(run_mode_counter == 2){
			lcd_set_cursor(2, 0);
			lcd_printstr("WELDING  PROCESS");
			lcd_set_cursor(6, 1);
			lcd_printstr("STOPED");
			lcd_set_cursor(4, 3);
			lcd_printstr("ROBOT HOMING");
		}
	}
	///////////////////////////////////
}
//---------------------------------------------------------------------------------------------------------------------------------------------------------------------------------

/*--- RESET COUNTER ---*/
//---------------------------------------------------------------------------------------------------------------------------------------------------------------------------------
void reset_counter(void){
	ctrl_mode_counter = 0;
	move_mode_counter = 0;
	move_var_counter = 0;
}
//---------------------------------------------------------------------------------------------------------------------------------------------------------------------------------

/*--- CHECK PRESSED NUMKEYS ---*/
//---------------------------------------------------------------------------------------------------------------------------------------------------------------------------------
bool check_numkeys_pressed(void){
	keys = Keypad_Read(&keypad);

	for(int i=0; i<sizeof(num_keys); i++) if(keys == num_keys[i]) return true;
	return false;
}
//---------------------------------------------------------------------------------------------------------------------------------------------------------------------------------

/*--- SAVE WELDING DATA ---*/
//---------------------------------------------------------------------------------------------------------------------------------------------------------------------------------
void Save_WeldingData(uint8_t welding_point, uint8_t welding_pattern, uint8_t welding_speed){
	uint8_t save_data[3] = {welding_point, welding_pattern, welding_speed};
	EEPROM_PageWrite(&eeprom1, welding_point-1, 0, save_data, sizeof(save_data));
}
//---------------------------------------------------------------------------------------------------------------------------------------------------------------------------------

/*--- DELETE WELDING DATA ---*/
//---------------------------------------------------------------------------------------------------------------------------------------------------------------------------------
void Delete_WeldingData(uint8_t welding_point){
	EEPROM_PageReset(&eeprom1, welding_point-1, 0);
}
//---------------------------------------------------------------------------------------------------------------------------------------------------------------------------------

/*--- READ WELDING DATA ---*/
//---------------------------------------------------------------------------------------------------------------------------------------------------------------------------------
void Read_WeldingData(uint16_t welding_point, uint8_t* stored_data){
	EEPROM_PageRead(&eeprom1, welding_point-1, 0, stored_data, sizeof(stored_data));
}
//---------------------------------------------------------------------------------------------------------------------------------------------------------------------------------

/*--- UPDATE EEPROM STORED DATA ---*/
//---------------------------------------------------------------------------------------------------------------------------------------------------------------------------------
void Update_Data(Mem_Update_t update_type){
	if(update_type == UPDATE_ALL){
		total_mapped_points = 0;
		for(uint16_t i=1; i<max_welding_point; i++){
			Read_WeldingData(i, stored_welding_data);

			if(stored_welding_data[0] != 0){
				total_mapped_points++;
				mapped_points[i-1] 	= stored_welding_data[0];
				mapped_pattern[i-1] = stored_welding_data[1];
				mapped_speed[i-1] 	= stored_welding_data[2];
			}
			else{
				mapped_points[i-1] 	= 0;
				mapped_pattern[i-1] = 0;
				mapped_speed[i-1] 	= 0;
			}
			HAL_Delay(1);
		}
	}

	else if(update_type == SELECTED_ONLY){
		HAL_Delay(1000);
		Read_WeldingData(start_point_counter, stored_welding_data);
		mapped_points[start_point_counter-1] 	= stored_welding_data[0];
		mapped_pattern[start_point_counter-1] = stored_welding_data[1];
		mapped_speed[start_point_counter-1] 	= stored_welding_data[2];
	}
}
//---------------------------------------------------------------------------------------------------------------------------------------------------------------------------------

/*--- FORMAT EEPROM MEMORY ---*/
//---------------------------------------------------------------------------------------------------------------------------------------------------------------------------------
void Format_mem(void){
	for(uint8_t j=0; j<eeprom1.page_size; j++){
		EEPROM_PageReset(&eeprom1, j, 0);
	}
}
//---------------------------------------------------------------------------------------------------------------------------------------------------------------------------------
/* USER CODE END 4 */

void Error_Handler(void)
{
  __disable_irq();
  while (1)
  {
  }
}
